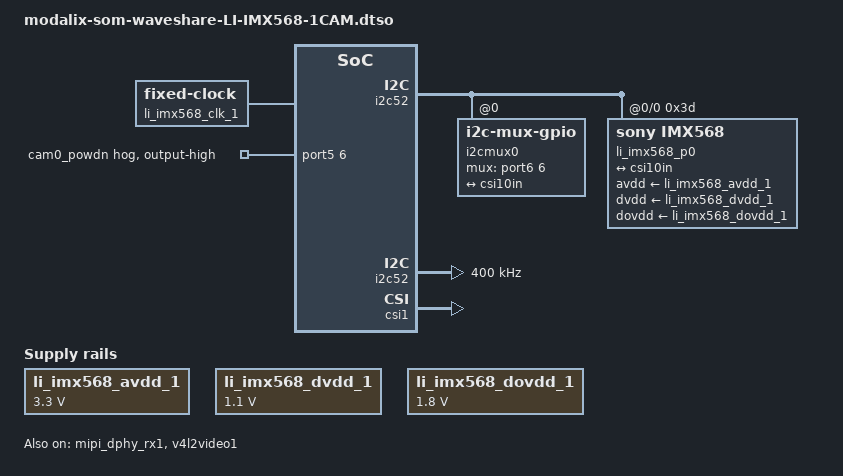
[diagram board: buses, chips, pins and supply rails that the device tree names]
// SPDX-License-Identifier: (GPL-2.0+ OR MIT)
/*
 * Copyright (c) 2026 SiMa ai
 *
 * li-imx568 (direct Sony imx568, sony,imx568) on modalix waveshare SoM csi1,
 * CSI-2 controller mode, i2c addr 0x3d behind the port6-gpio6 i2c-mux (ch0),
 * RAW12 1920x1080 first. (Fix: was placed directly on &i2c52, no mux.)
 */

/dts-v1/;
/plugin/;

&{/} {
    li_imx568_avdd_1: csi1_fixedregulator@0 {
        compatible = "regulator-fixed";
        regulator-name = "li_imx568_avdd_1";
        regulator-min-microvolt = <3300000>;
        regulator-max-microvolt = <3300000>;
        enable-active-high;
        startup-delay-us = <300000>;
        regulator-always-on;
    };

    li_imx568_dvdd_1: csi1_fixedregulator@1 {
        compatible = "regulator-fixed";
        regulator-name = "li_imx568_dvdd_1";
        regulator-min-microvolt = <1100000>;
        regulator-max-microvolt = <1100000>;
        regulator-always-on;
    };

    li_imx568_dovdd_1: csi1_fixedregulator@2 {
        compatible = "regulator-fixed";
        regulator-name = "li_imx568_dovdd_1";
        regulator-min-microvolt = <1800000>;
        regulator-max-microvolt = <1800000>;
        regulator-always-on;
    };

    li_imx568_clk_1: csi1_camera-clk {
        compatible = "fixed-clock";
        #clock-cells = <0>;
        clock-frequency = <37125000>;
    };

    i2cmux0: i2cmux@0 {
        compatible = "i2c-mux-gpio";
        i2c-parent = <&i2c52>;
        #address-cells = <1>;
        #size-cells = <0>;
        /* Set port6 gpio6 to GPIO_ACTIVE_LOW mode */
        mux-gpios = <&port6 6 0>;

        i2cmux0p0: i2c@0 {
            reg = <0>;
            #address-cells = <1>;
            #size-cells = <0>;
        };
    };
};

&port5 {
    cam-hog0 {
        gpio-hog;
        /* Set port5 gpio6 to GPIO_ACTIVE_HIGH mode */
        gpios = <6 0>;
        output-high;
        line-name = "cam0_powdn";
    };
};

&i2c52 {
    status = "okay";
    clock-frequency = <400000>;
    #address-cells = <1>;
    #size-cells = <0>;
};

/* csi1 controller mode; bt-* porches are a 1080p starting point, tune per board. */
&csi1 {
    status = "okay";
    simaai,bt-pixelclock = /bits/ 64 <500000000>;
    simaai,bt-hsync = <2>;
    simaai,bt-hbackporch = <100>;
    simaai,bt-hfrontporch = <1548>;
    simaai,bt-vsync = <1>;
    simaai,bt-vbackporch = <68>;
    simaai,bt-vfrontporch = <1>;
    simaai,ipi-controller-mode = <1>;
    simaai,ipi-emb-data-enable = <0>;
};

&axi_vdma1 {
    status = "okay";
};

&mipi_dphy_rx1 {
    status = "okay";
};

&v4l2video1 {
    status = "okay";
};

&v4l2vdma1 {
    status = "okay";
};

&csi10in {
    clock-lanes = <0>;
    data-lanes = <1 2>;
    link-frequencies = /bits/ 64 <594000000>;
    remote-endpoint = <&cam10out>;
    clock-continuous;
};

&i2cmux0p0 {
    li_imx568_p0: imx568@3d {
        compatible = "sony,imx568";
        /* sensor stream-on takes ~600 ms; do not free-run the IPI before it */
        simaai,ipi-enable-delay-ms = <800>;
        reg = <0x3d>;

        clocks = <&li_imx568_clk_1>;
        clock-names = "inck";

        avdd-supply = <&li_imx568_avdd_1>;
        dvdd-supply = <&li_imx568_dvdd_1>;
        dovdd-supply = <&li_imx568_dovdd_1>;

        port {
            cam10out: endpoint {
                clock-lanes = <0>;
                data-lanes = <1 2>;
                link-frequencies = /bits/ 64 <594000000>;
                remote-endpoint = <&csi10in>;
                clock-continuous;
            };
        };
    };
};
